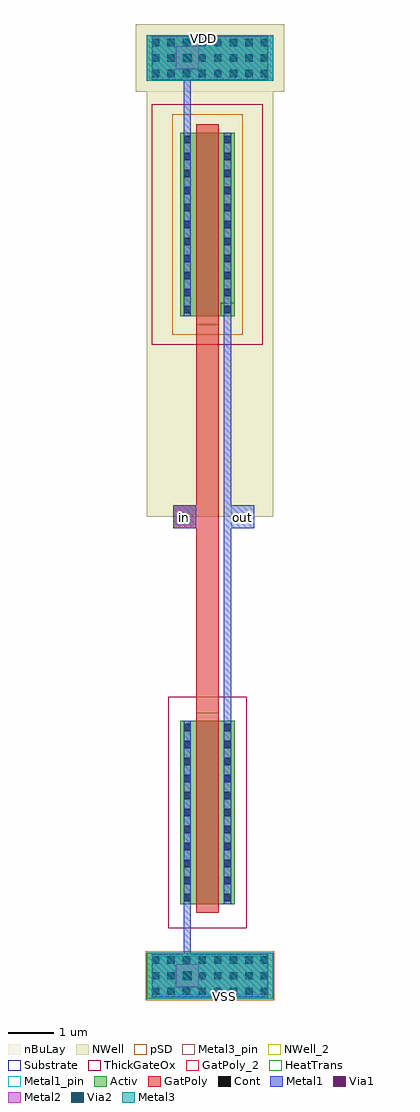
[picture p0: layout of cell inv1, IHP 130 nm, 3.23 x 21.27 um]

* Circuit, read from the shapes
.subckt inv1 VDD VSS in out
XM1 out in VSS VSS sg13_hv_nmos w=4u l=0.5u
XM2 out in VDD VDD sg13_hv_pmos w=4u l=0.5u
.ends

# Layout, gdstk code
import gdstk
lib = gdstk.Library(unit=1e-6, precision=1e-09)
def R(c, l, rs):  # rectangles x0, y0, x1, y1
    for r in rs: c.add(gdstk.rectangle(r[:2], r[2:], *l))
def A(c, l, x, y, w, h, nx, ny, dx, dy):  # array of equal rectangles
    R(c, l, [(x+i*dx, y+j*dy, x+i*dx+w, y+j*dy+h) for i in range(nx) for j in range(ny)])
Activ = (1, 0)
GatPoly = (5, 0)
GatPoly_2 = (5, 2)
Cont = (6, 0)
Metal1 = (8, 0)
Metal1_pin = (8, 2)
Metal2 = (10, 0)
pSD = (14, 0)
Via1 = (19, 0)
Via2 = (29, 0)
Metal3 = (30, 0)
Metal3_pin = (30, 2)
NWell = (31, 0)
NWell_2 = (31, 2)
nBuLay = (32, 0)
Substrate = (40, 0)
ThickGateOx = (44, 0)
HeatTrans = (51, 0)

nmoshv_1 = lib.new_cell('nmosHV$1')
R(nmoshv_1, Activ, [(0,0,0.3,0.3), (0,0,1.18,4), (0.88,0,1.18,0.3)])
R(nmoshv_1, GatPoly, [(0.34,-0.18,0.84,4.18)])
R(nmoshv_1, GatPoly_2, [(0.34,-0.18,0.84,4.18)])
A(nmoshv_1, Cont, 0.07, 0.07, 0.16, 0.16, 1, 11, 0, 0.37)
A(nmoshv_1, Cont, 0.95, 0.07, 0.16, 0.16, 1, 11, 0, 0.37)
R(nmoshv_1, Metal1, [(0.07,0,0.23,4), (0.95,0,1.11,4)])
R(nmoshv_1, Metal1_pin, [(0.07,0,0.23,4), (0.95,0,1.11,4)])
R(nmoshv_1, ThickGateOx, [(-0.27,-0.52,1.45,4.52)])
R(nmoshv_1, HeatTrans, [(0.34,-0.18,0.84,4.18)])
nmoshv_1.add(gdstk.Label('nmosHV', (0.59,2), layer=63, texttype=0))
nmoshv_1.add(gdstk.Label('nmosHV', (0.59,2), layer=51, texttype=0))

pmoshv_1 = lib.new_cell('pmosHV$1')
R(pmoshv_1, Activ, [(0,0,0.3,0.3), (0,0,1.18,4), (0.88,0,1.18,0.3)])
R(pmoshv_1, GatPoly, [(0.34,-0.18,0.84,4.18)])
R(pmoshv_1, GatPoly_2, [(0.34,-0.18,0.84,4.18)])
A(pmoshv_1, Cont, 0.07, 0.07, 0.16, 0.16, 1, 11, 0, 0.37)
A(pmoshv_1, Cont, 0.95, 0.07, 0.16, 0.16, 1, 11, 0, 0.37)
R(pmoshv_1, Metal1, [(0.07,0,0.23,4), (0.95,0,1.11,4)])
R(pmoshv_1, Metal1_pin, [(0.07,0,0.23,4), (0.95,0,1.11,4)])
R(pmoshv_1, pSD, [(-0.18,-0.4,1.36,4.4)])
R(pmoshv_1, NWell, [(-0.62,-0.62,1.8,4.62)])
R(pmoshv_1, Substrate, [(0.88,0,1.18,0.3)])
R(pmoshv_1, ThickGateOx, [(-0.62,-0.62,1.8,4.62)])
R(pmoshv_1, HeatTrans, [(0.34,-0.18,0.84,4.18)])
pmoshv_1.add(gdstk.Label('pmosHV', (0.59,2), layer=63, texttype=0))
pmoshv_1.add(gdstk.Label('pmos', (0.59,2), layer=51, texttype=0))

via_6 = lib.new_cell('Via$6')
R(via_6, Metal2, [(-0.25,-0.25,0.25,0.25)])
R(via_6, Via2, [(-0.095,-0.095,0.095,0.095)])
R(via_6, Metal3, [(-0.25,-0.25,0.25,0.25)])

via = lib.new_cell('Via')
R(via, Metal1, [(-0.25,-0.25,0.25,0.25)])
R(via, Metal2, [(-0.25,-0.25,0.25,0.25)])
R(via, Via1, [(-0.095,-0.095,0.095,0.095)])

via_2 = lib.new_cell('Via$2')
R(via_2, GatPoly, [(-0.25,-0.25,0.25,0.25)])
R(via_2, Cont, [(-0.08,-0.08,0.08,0.08)])
R(via_2, Metal1, [(-0.25,-0.25,0.25,0.25)])

ntap1_2 = lib.new_cell('ntap1$2')
R(ntap1_2, Activ, [(0,0,2.75,1)])
A(ntap1_2, Cont, 0.105, 0.08, 0.16, 0.16, 8, 3, 0.34, 0.34)
R(ntap1_2, Metal1, [(0.105,0.03,2.645,0.97)])
R(ntap1_2, Metal1_pin, [(0.105,0.03,2.645,0.97), (0.105,0.08,2.645,0.92)])
R(ntap1_2, NWell, [(-0.24,-0.24,2.99,1.24), (0,0,2.75,1)])
R(ntap1_2, NWell_2, [(0,0,2.75,1)])
R(ntap1_2, nBuLay, [(-0.24,-0.24,2.99,1.24)])
ntap1_2.add(gdstk.Label('well', (1.375,0.01), layer=63, texttype=0))
ntap1_2.add(gdstk.Label('well', (1.375,0.01), layer=31, texttype=0))

ptap1_1 = lib.new_cell('ptap1$1')
R(ptap1_1, Activ, [(0,0,2.75,1)])
A(ptap1_1, Cont, 0.105, 0.08, 0.16, 0.16, 8, 3, 0.34, 0.34)
R(ptap1_1, Metal1, [(0.105,0.03,2.645,0.97), (0.105,0.08,2.645,0.92)])
R(ptap1_1, Metal1_pin, [(0.105,0.08,2.645,0.92)])
R(ptap1_1, pSD, [(-0.03,-0.03,2.78,1.03)])
R(ptap1_1, Substrate, [(0,0,2.75,1)])
ptap1_1.add(gdstk.Label('sub!', (1.375,0.01), layer=63, texttype=0))
ptap1_1.add(gdstk.Label('sub!', (1.375,0.01), layer=40, texttype=0))

inv1 = lib.new_cell('inv1')
R(inv1, GatPoly, [(1.07,5.48,1.57,14.495)])
R(inv1, Metal1, [(0.8,-0.25,0.96,5.555), (1.68,1.555,1.84,18.37), (1.84,9.75,2.34,10.25), (0.8,14.37,0.96,20.25)])
R(inv1, Metal1_pin, [(0.57,9.75,1.07,10.25), (1.84,9.75,2.34,10.25)])
R(inv1, Metal3, [(0,-0.5,2.75,0.5), (0,19.5,2.75,20.5)])
R(inv1, Metal3_pin, [(0,-0.5,2.75,0.5), (0,19.5,2.75,20.5)])
R(inv1, NWell, [(0,10,2.75,20)])
inv1.add(gdstk.Reference(nmoshv_1, (0.73,1.555)))
inv1.add(gdstk.Reference(pmoshv_1, (0.73,14.37)))
inv1.add(gdstk.Reference(via_6, (0.88,20)))
inv1.add(gdstk.Reference(via, (0.88,20)))
inv1.add(gdstk.Reference(via, (0.88,0)))
inv1.add(gdstk.Reference(via_6, (0.88,0)))
inv1.add(gdstk.Reference(via_2, (0.82,10)))
inv1.add(gdstk.Reference(ntap1_2, (0,19.5)))
inv1.add(gdstk.Reference(ptap1_1, (0,-0.5)))
inv1.add(gdstk.Label('VDD', (1.234,20.419), layer=30, texttype=25))
inv1.add(gdstk.Label('VSS', (1.698,-0.452), layer=30, texttype=25))
inv1.add(gdstk.Label('out', (2.09,9.985), layer=8, texttype=25))
inv1.add(gdstk.Label('in', (0.82,9.985), layer=8, texttype=25))

lib.write_gds('inv1.gds')
